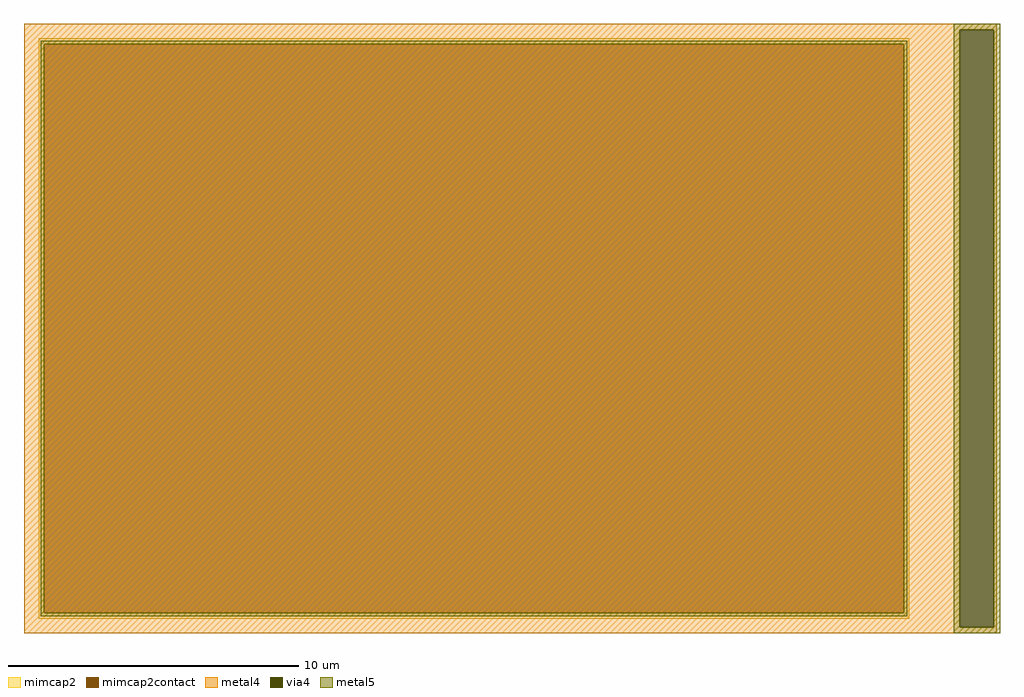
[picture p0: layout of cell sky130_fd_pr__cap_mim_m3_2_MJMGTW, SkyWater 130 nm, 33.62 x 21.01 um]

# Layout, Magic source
magic
tech sky130A
magscale 1 2
<< metal4 >>
rect -3351 2059 3351 2100
rect -3351 -2059 3095 2059
rect 3331 -2059 3351 2059
rect -3351 -2100 3351 -2059
<< via4 >>
rect 3095 -2059 3331 2059
<< mimcap2 >>
rect -3251 1960 2749 2000
rect -3251 -1960 -3211 1960
rect 2709 -1960 2749 1960
rect -3251 -2000 2749 -1960
<< mimcap2contact >>
rect -3211 -1960 2709 1960
<< metal5 >>
rect 3053 2059 3373 2101
rect -3235 1960 2733 1984
rect -3235 -1960 -3211 1960
rect 2709 -1960 2733 1960
rect -3235 -1984 2733 -1960
rect 3053 -2059 3095 2059
rect 3331 -2059 3373 2059
rect 3053 -2101 3373 -2059
<< properties >>
string FIXED_BBOX -3351 -2100 2849 2100
string gencell sky130_fd_pr__cap_mim_m3_2
string library sky130
string parameters w 30 l 20 val 1.219k carea 2.00 cperi 0.19 nx 1 ny 1 dummy 0 square 0 lmin 2.00 wmin 2.00 lmax 30.0 wmax 30.0 dc 0 bconnect 1 tconnect 1 ccov 100
<< end >>
